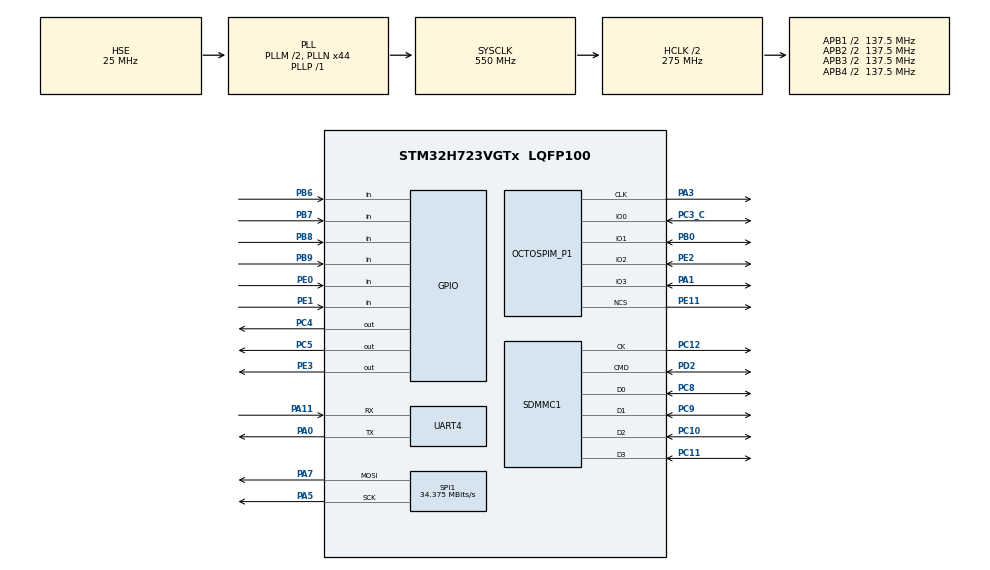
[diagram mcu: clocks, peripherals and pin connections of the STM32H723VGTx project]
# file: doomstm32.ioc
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CORTEX_M7.AccessPermission_Spec=MPU_REGION_FULL_ACCESS
CORTEX_M7.BaseAddress_Spec=0x90000000
CORTEX_M7.DisableExec_Spec=MPU_INSTRUCTION_ACCESS_ENABLE
CORTEX_M7.IsBufferable_Spec=MPU_ACCESS_NOT_BUFFERABLE
CORTEX_M7.IsCacheable_Spec=MPU_ACCESS_NOT_CACHEABLE
CORTEX_M7.IsShareable_Spec=MPU_ACCESS_NOT_SHAREABLE
CORTEX_M7.Size_Spec=MPU_REGION_SIZE_8MB
CORTEX_M7.SubRegionDisable_Spec=0x00
CORTEX_M7.TypeExtField_Spec=MPU_TEX_LEVEL1
CORTEX_M7.default_mode_Activation=1
Dma.Request0=SPI1_TX
Dma.SPI1_TX.0.Direction=DMA_MEMORY_TO_PERIPH
Dma.SPI1_TX.0.EventEnable=DISABLE
Dma.SPI1_TX.0.FIFOMode=DMA_FIFOMODE_DISABLE
Dma.SPI1_TX.0.Instance=DMA1_Stream0
Dma.SPI1_TX.0.MemDataAlignment=DMA_MDATAALIGN_HALFWORD
Dma.SPI1_TX.0.MemInc=DMA_MINC_ENABLE
Dma.SPI1_TX.0.Mode=DMA_NORMAL
Dma.SPI1_TX.0.PeriphDataAlignment=DMA_PDATAALIGN_HALFWORD
Dma.SPI1_TX.0.PeriphInc=DMA_PINC_DISABLE
Dma.SPI1_TX.0.Polarity=HAL_DMAMUX_REQ_GEN_RISING
Dma.SPI1_TX.0.Priority=DMA_PRIORITY_VERY_HIGH
Dma.SPI1_TX.0.RequestNumber=1
Dma.SPI1_TX.0.SignalID=NONE
Dma.SPI1_TX.0.SyncEnable=DISABLE
Dma.SPI1_TX.0.SyncPolarity=HAL_DMAMUX_SYNC_NO_EVENT
Dma.SPI1_TX.0.SyncRequestNumber=1
Dma.SPI1_TX.0.SyncSignalID=NONE
Mcu.Family=STM32H7
Mcu.Name=STM32H723VGTx
Mcu.Package=LQFP100
NVIC.DMA1_Stream0_IRQn=true\:0\:0\:false\:false\:true\:false\:true\:true
NVIC.PriorityGroup=NVIC_PRIORITYGROUP_4
NVIC.SPI1_IRQn=true\:0\:0\:false\:false\:true\:false\:true\:true
OCTOSPI1.ClockPrescaler=7
OCTOSPI1.DeviceSize=23
PA0.Mode=Asynchronous
PA0.Signal=UART4_TX
PA1.Mode=OCTOSPI1_IOL_Port1L
PA1.Signal=OCTOSPIM_P1_IO3
PA11.Mode=Asynchronous
PA11.Signal=UART4_RX
PA13(JTMS/SWDIO).Mode=Serial_Wire
PA13(JTMS/SWDIO).Signal=DEBUG_JTMS-SWDIO
PA14(JTCK/SWCLK).Mode=Serial_Wire
PA14(JTCK/SWCLK).Signal=DEBUG_JTCK-SWCLK
PA3.Mode=O1_P1_CLK
PA3.Signal=OCTOSPIM_P1_CLK
PA5.Mode=TX_Only_Simplex_Unidirect_Master
PA5.Signal=SPI1_SCK
PA7.Mode=TX_Only_Simplex_Unidirect_Master
PA7.Signal=SPI1_MOSI
PB0.Mode=OCTOSPI1_IOL_Port1L
PB0.Signal=OCTOSPIM_P1_IO1
PB6.GPIO_PuPd=GPIO_PULLUP
PB6.Signal=GPIO_Input
PB7.GPIO_PuPd=GPIO_PULLUP
PB7.Signal=GPIO_Input
PB8.GPIO_PuPd=GPIO_PULLUP
PB8.Signal=GPIO_Input
PB9.GPIO_PuPd=GPIO_PULLUP
PB9.Signal=GPIO_Input
PC10.Mode=SD_4_bits_Wide_bus
PC10.Signal=SDMMC1_D2
PC11.Mode=SD_4_bits_Wide_bus
PC11.Signal=SDMMC1_D3
PC12.Mode=SD_4_bits_Wide_bus
PC12.Signal=SDMMC1_CK
PC3_C.Mode=OCTOSPI1_IOL_Port1L
PC3_C.Signal=OCTOSPIM_P1_IO0
PC4.GPIO_Speed=GPIO_SPEED_FREQ_MEDIUM
PC4.Signal=GPIO_Output
PC5.GPIO_Speed=GPIO_SPEED_FREQ_MEDIUM
PC5.Signal=GPIO_Output
PC8.Mode=SD_4_bits_Wide_bus
PC8.Signal=SDMMC1_D0
PC9.Mode=SD_4_bits_Wide_bus
PC9.Signal=SDMMC1_D1
PD2.Mode=SD_4_bits_Wide_bus
PD2.Signal=SDMMC1_CMD
PE0.GPIO_PuPd=GPIO_PULLUP
PE0.Signal=GPIO_Input
PE1.GPIO_PuPd=GPIO_PULLUP
PE1.Signal=GPIO_Input
PE11.Mode=OCTOSPI1_Port1_NCS
PE11.Signal=OCTOSPIM_P1_NCS
PE2.Mode=OCTOSPI1_IOL_Port1L
PE2.Signal=OCTOSPIM_P1_IO2
PE3.GPIO_Speed=GPIO_SPEED_FREQ_LOW
PE3.Signal=GPIO_Output
PH0-OSC_IN.Mode=HSE-External-Oscillator
PH0-OSC_IN.Signal=RCC_OSC_IN
PH1-OSC_OUT.Mode=HSE-External-Oscillator
PH1-OSC_OUT.Signal=RCC_OSC_OUT
ProjectManager.HeapSize=0x200
ProjectManager.StackSize=0x400
ProjectManager.TargetToolchain=STM32CubeIDE
RCC.ADCFreq_Value=50390625
RCC.APB1Freq_Value=137500000
RCC.APB2Freq_Value=137500000
RCC.APB3Freq_Value=137500000
RCC.APB4Freq_Value=137500000
RCC.CortexFreq_Value=550000000
RCC.D1PPRE=RCC_APB3_DIV2
RCC.D2PPRE1=RCC_APB1_DIV2
RCC.D2PPRE2=RCC_APB2_DIV2
RCC.D3PPRE=RCC_APB4_DIV2
RCC.DIVM1=2
RCC.DIVN1=44
RCC.DIVP1=1
RCC.DIVQ1=4
RCC.HCLKFreq_Value=275000000
RCC.HPRE=RCC_HCLK_DIV2
RCC.PLL2FRACN=0
RCC.PLL3FRACN=0
RCC.PLLFRACN=0
RCC.PLLSourceVirtual=RCC_PLLSOURCE_HSE
RCC.SYSCLKFreq_VALUE=550000000
RCC.SYSCLKSource=RCC_SYSCLKSOURCE_PLLCLK
RCC.USBFreq_Value=137500000
SPI1.BaudRatePrescaler=SPI_BAUDRATEPRESCALER_4
SPI1.CLKPhase=SPI_PHASE_2EDGE
SPI1.CLKPolarity=SPI_POLARITY_HIGH
SPI1.CalculateBaudRate=34.375 MBits/s
SPI1.DataSize=SPI_DATASIZE_8BIT
SPI1.Direction=SPI_DIRECTION_2LINES_TXONLY
SPI1.Mode=SPI_MODE_MASTER
SPI1.VirtualType=VM_MASTER
VP_FATFS_VS_SDIO.Mode=SDIO
VP_MEMORYMAP_VS_MEMORYMAP.Mode=CurAppReg
VP_OCTOSPI1_VS_quad.Mode=quad_mode
board=custom

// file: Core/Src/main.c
/* USER CODE BEGIN Header */
/**
  ******************************************************************************
  * @file           : main.c
  * @brief          : Main program body
  ******************************************************************************
  * @attention
  *
  * Copyright (c) 2026 STMicroelectronics.
  * All rights reserved.
  *
  * This software is licensed under terms that can be found in the LICENSE file
  * in the root directory of this software component.
  * If no LICENSE file comes with this software, it is provided AS-IS.
  *
  ******************************************************************************
  */
/* USER CODE END Header */
#include "main.h"
#include "dma.h"
#include "fatfs.h"
#include "octospi.h"
#include "sdmmc.h"
#include "spi.h"
#include "usart.h"
#include "gpio.h"

/* USER CODE BEGIN Includes */
#include "stm32h7xx_ll_gpio.h"
#include "stm32h7xx_ll_spi.h"
#include "stm32h7xx_ll_dma.h"
#include "doomgeneric.h"
/* USER CODE END Includes */

/* USER CODE BEGIN PV */
#define frame ((uint16_t*)0x90640000)
FATFS fs;
FIL file;
UINT bytes_read;
//uint16_t color = 0x0000;

/* USER CODE END PV */

void SystemClock_Config(void);
static void MPU_Config(void);

/* USER CODE BEGIN 0 */
void SendCmd(uint8_t cmd){
	LL_GPIO_ResetOutputPin(GPIOC, LL_GPIO_PIN_5);
	while (!LL_SPI_IsActiveFlag_TXP(SPI1));
	LL_SPI_TransmitData8(SPI1, cmd);
	while (!LL_SPI_IsActiveFlag_TXC(SPI1));

}

void SendData(uint8_t data){
	LL_GPIO_SetOutputPin(GPIOC, LL_GPIO_PIN_5);
	while (!LL_SPI_IsActiveFlag_TXP(SPI1));
	LL_SPI_TransmitData8(SPI1, data);
	while (!LL_SPI_IsActiveFlag_TXC(SPI1));

}
void SetWindow(uint16_t x0, uint16_t y0, uint16_t x1, uint16_t y1){
	SendCmd(0x2A); //отправляем ширину экрана CASET
	SendData(x0>>8); SendData(x0 & 0xFF);
	SendData(x1>>8); SendData(x1 & 0xFF);

	SendCmd(0x2B); //отправляем длину экрана RASET
	SendData(y0>>8); SendData(y0 & 0xFF);
	SendData(y1>>8); SendData(y1 & 0xFF);
	SendCmd(0x2C);

}
void LCD_Init(void){
	LL_SPI_Enable(SPI1);
	LL_SPI_StartMasterTransfer(SPI1);

	LL_GPIO_ResetOutputPin(GPIOC, LL_GPIO_PIN_4);
	HAL_Delay(20);
	LL_GPIO_SetOutputPin(GPIOC, LL_GPIO_PIN_4); //RES
	HAL_Delay(50);

	SendCmd(0x11); //SLPOUT
	HAL_Delay(120);

	SendCmd(0x3A); //COLMOD
	SendData(0x55);

	SendCmd(0x21); // Display Inversion ON (ВКЛЮЧИТЬ ИНВЕРСИЮ IPS!)
	HAL_Delay(10);

	SendCmd(0x13); // Normal Display Mode ON
	HAL_Delay(10);

	SendCmd(0x29);
	HAL_Delay(50);

}

/*void ColorFill(uint16_t color){
	uint8_t highbyte = color >> 8;
	uint8_t lowbyte = color & 0xFF;
	SetWindow(0, 0, 239, 239);
	LL_GPIO_SetOutputPin(GPIOC, LL_GPIO_PIN_5);

	for (int i=0; i <240*240; i++){
		while(!LL_SPI_IsActiveFlag_TXP(SPI1));
		LL_SPI_TransmitData8(SPI1, highbyte);

		while(!LL_SPI_IsActiveFlag_TXP(SPI1));
		LL_SPI_TransmitData8(SPI1, lowbyte);
	}
	while(!LL_SPI_IsActiveFlag_TXC(SPI1));
}
*/

void DMA_Init(void){
	SetWindow(0, 0, 239, 239);

	LL_GPIO_SetOutputPin(GPIOC, LL_GPIO_PIN_5);

	LL_SPI_Disable(SPI1);

	LL_SPI_SetDataWidth(SPI1, LL_SPI_DATAWIDTH_16BIT);
	LL_SPI_SetTransferSize(SPI1, 0);
	LL_SPI_EnableDMAReq_TX(SPI1);

	LL_SPI_Enable(SPI1);
	LL_SPI_StartMasterTransfer(SPI1);

	LL_DMA_SetPeriphAddress(DMA1, LL_DMA_STREAM_0, (uint32_t)&(SPI1->TXDR));
	LL_DMA_SetMemoryAddress(DMA1, LL_DMA_STREAM_0, (uint32_t)frame);

}

void DrawFrame(void){

	//while (LL_DMA_IsEnabledStream(DMA1, LL_DMA_STREAM_0));
	SCB_CleanDCache_by_Addr((uint32_t*)frame, 240 * 240 * 2);

	/*LL_SPI_Disable(SPI1);

	LL_SPI_SetDataWidth(SPI1, LL_SPI_DATAWIDTH_8BIT);
	LL_SPI_SetTransferSize(SPI1, 0);
	LL_SPI_Enable(SPI1);
	LL_SPI_StartMasterTransfer(SPI1);
	SendCmd(0x2C);*/
	//LL_GPIO_SetOutputPin(GPIOC, LL_GPIO_PIN_5);

	/*LL_SPI_Disable(SPI1);
	LL_SPI_SetDataWidth(SPI1, LL_SPI_DATAWIDTH_16BIT);
	LL_SPI_SetTransferSize(SPI1, 240*240);
	LL_SPI_EnableDMAReq_TX(SPI1);
	LL_SPI_Enable(SPI1);*/

	LL_DMA_ClearFlag_TC0(DMA1);
	LL_DMA_SetDataLength(DMA1, LL_DMA_STREAM_0, 240*240);

	LL_DMA_EnableStream(DMA1, LL_DMA_STREAM_0);
	//LL_SPI_StartMasterTransfer(SPI1);
}

void psram_SendCmd(uint8_t cmd){
	while(OCTOSPI1->SR &OCTOSPI_SR_BUSY);
	OCTOSPI1->CCR = (1 << OCTOSPI_CCR_IMODE_Pos);
	OCTOSPI1->IR = cmd;
	while(!(OCTOSPI1->SR & OCTOSPI_SR_TCF));
	OCTOSPI1->FCR = OCTOSPI_FCR_CTCF;
}

void psram_init(void){
	LL_GPIO_SetPinSpeed(GPIOA, LL_GPIO_PIN_3, LL_GPIO_SPEED_FREQ_MEDIUM);
	OCTOSPI1->CR &= ~OCTOSPI_CR_EN;
	OCTOSPI1->CR |= OCTOSPI_CR_EN;
	psram_SendCmd(0x66); // Res Enable
	psram_SendCmd(0x99); // Res
	HAL_Delay(1);
	psram_SendCmd(0x35); // Quad mode enter
	 OCTOSPI1->CR &= ~OCTOSPI_CR_EN;
	 while(OCTOSPI1->SR & OCTOSPI_SR_BUSY);
	 OCTOSPI1->CR &= ~OCTOSPI_CR_EN;
	 OCTOSPI1->DCR2 &= ~0xFF;
	 OCTOSPI1->DCR2 |= 31;
	 OCTOSPI1->DCR1 &= ~OCTOSPI_DCR1_CSHT_Msk;
	    OCTOSPI1->DCR1 |= (3 << OCTOSPI_DCR1_CSHT_Pos);

	OCTOSPI1->TCR = (6 << OCTOSPI_TCR_DCYC_Pos)| OCTOSPI_TCR_SSHIFT;
	OCTOSPI1->CCR = (3<< OCTOSPI_CCR_DMODE_Pos) | (2 << OCTOSPI_CCR_ADSIZE_Pos) | (3<< OCTOSPI_CCR_ADMODE_Pos) | (3<< OCTOSPI_CCR_IMODE_Pos);
	OCTOSPI1->IR = 0xEB;
	OCTOSPI1->WTCR = 0;
	OCTOSPI1->WCCR = OCTOSPI_WCCR_DQSE | (3<< OCTOSPI_WCCR_DMODE_Pos) | (2 << OCTOSPI_WCCR_ADSIZE_Pos) | (3<< OCTOSPI_WCCR_ADMODE_Pos) | (3<< OCTOSPI_WCCR_IMODE_Pos);
	OCTOSPI1->WIR = 0x38;

	OCTOSPI1->CR &= ~OCTOSPI_CR_FMODE_Msk;
	OCTOSPI1->CR |= (3<<OCTOSPI_CR_FMODE_Pos);
	  OCTOSPI1->CR |= OCTOSPI_CR_EN;

}

/* USER CODE END 0 */

int main(void)
{

  /* MPU Configuration--------------------------------------------------------*/
  MPU_Config();

  /* MCU Configuration--------------------------------------------------------*/

  /* Reset of all peripherals, Initializes the Flash interface and the Systick. */
  HAL_Init();

  /* Configure the system clock */
  SystemClock_Config();

  /* Initialize all configured peripherals */
  MX_GPIO_Init();
  MX_DMA_Init();
  MX_SDMMC1_SD_Init();
  MX_SPI1_Init();
  MX_OCTOSPI1_Init();
  MX_UART4_Init();
  MX_FATFS_Init();
  /* USER CODE BEGIN 2 */
  SCB_EnableICache();
  SCB_EnableDCache();
  __HAL_RCC_SYSCFG_CLK_ENABLE();
   HAL_SYSCFG_AnalogSwitchConfig(SYSCFG_SWITCH_PC3, SYSCFG_SWITCH_PC3_CLOSE);

   LCD_Init();
   DMA_Init();
   psram_init();

  f_mount(&fs, "", 1);

  // === СТРЕСС-ТЕСТ PSRAM НА 64 КИЛОБАЙТА ===
   /* volatile uint32_t *ram = (volatile uint32_t *)0x90000000;
    const uint32_t test_words = 16384; // 16384 * 4 байта = 64 КБ!

    for (uint32_t i = 0; i < test_words; i++) {
        ram[i] = 0xAA000000U ^ (i * 0x01010101U);
    }

    // Сбрасываем и инвалидируем ВСЕ 64 КБ!
    SCB_CleanInvalidateDCache_by_Addr((uint32_t *)ram, test_words * sizeof(uint32_t));
    __DSB();

    int stress_error = -1;
    for (uint32_t i = 0; i < test_words; i++) {
        uint32_t expected = 0xAA000000U ^ (i * 0x01010101U);
        if (ram[i] != expected) {
            stress_error = i;
            break;
        }
    }

    if (stress_error == -1) {
        LL_GPIO_SetOutputPin(GPIOE, LL_GPIO_PIN_3); // ВСЕ 64 КБ ПРОШЛИ! СВЕТОДИОД ГОРИТ!
    } else {
        while(1) { // Сбой
            LL_GPIO_TogglePin(GPIOE, LL_GPIO_PIN_3);
            HAL_Delay(100);
        }
    }*/
  doomgeneric_Create(0, NULL);

  /* USER CODE END 2 */

  /* Infinite loop */
  /* USER CODE BEGIN WHILE */
  //uint16_t test_colors[] = {0xF800, 0x07E0, 0x001F, 0xFFE0, 0xF81F, 0x07FF};
   //int color_index = 0;
  while (1)
  {
	  doomgeneric_Tick();

	/*  if ( test_ram[0] == 0xDEADBEEF && test_ram[1] == 0xCAFEBABE)
	  {
		  LL_GPIO_SetOutputPin(GPIOE, LL_GPIO_PIN_3);
	  }
	  else {
		  while(1) {
		           LL_GPIO_TogglePin(GPIOE, LL_GPIO_PIN_3);
		           HAL_Delay(100);
		       }
	  }
*/
	//  while (LL_DMA_IsEnabledStream(DMA1, LL_DMA_STREAM_0));

	 /* LL_GPIO_SetOutputPin(GPIOE, LL_GPIO_PIN_3);
	  HAL_Delay(500);
	  LL_GPIO_ResetOutputPin(GPIOE, LL_GPIO_PIN_3);
	  HAL_Delay(500);*/
	 /* uint16_t c = test_colors[color_index];

	  for(uint16_t i=0; i<57600;i++){
	    	  	  frame[i] = c;
	    	    }
	  color_index = (color_index + 1) % 6;*/
	 // f_read(&file, frame, 240*240*2, &bytes_read);
	 // DrawFrame();

    /* USER CODE END WHILE */

  }
}

void SystemClock_Config(void)
{
  RCC_OscInitTypeDef RCC_OscInitStruct = {0};
  RCC_ClkInitTypeDef RCC_ClkInitStruct = {0};

  /** Supply configuration update enable
  */
  HAL_PWREx_ConfigSupply(PWR_LDO_SUPPLY);

  /** Configure the main internal regulator output voltage
  */
  __HAL_PWR_VOLTAGESCALING_CONFIG(PWR_REGULATOR_VOLTAGE_SCALE0);

  while(!__HAL_PWR_GET_FLAG(PWR_FLAG_VOSRDY)) {}

  /** Initializes the RCC Oscillators according to the specified parameters
  * in the RCC_OscInitTypeDef structure.
  */
  RCC_OscInitStruct.OscillatorType = RCC_OSCILLATORTYPE_HSE;
  RCC_OscInitStruct.HSEState = RCC_HSE_ON;
  RCC_OscInitStruct.PLL.PLLState = RCC_PLL_ON;
  RCC_OscInitStruct.PLL.PLLSource = RCC_PLLSOURCE_HSE;
  RCC_OscInitStruct.PLL.PLLM = 2;
  RCC_OscInitStruct.PLL.PLLN = 44;
  RCC_OscInitStruct.PLL.PLLP = 1;
  RCC_OscInitStruct.PLL.PLLQ = 4;
  RCC_OscInitStruct.PLL.PLLR = 2;
  RCC_OscInitStruct.PLL.PLLRGE = RCC_PLL1VCIRANGE_3;
  RCC_OscInitStruct.PLL.PLLVCOSEL = RCC_PLL1VCOWIDE;
  RCC_OscInitStruct.PLL.PLLFRACN = 0;
  if (HAL_RCC_OscConfig(&RCC_OscInitStruct) != HAL_OK)
  {
    Error_Handler();
  }

  /** Initializes the CPU, AHB and APB buses clocks
  */
  RCC_ClkInitStruct.ClockType = RCC_CLOCKTYPE_HCLK|RCC_CLOCKTYPE_SYSCLK
                              |RCC_CLOCKTYPE_PCLK1|RCC_CLOCKTYPE_PCLK2
                              |RCC_CLOCKTYPE_D3PCLK1|RCC_CLOCKTYPE_D1PCLK1;
  RCC_ClkInitStruct.SYSCLKSource = RCC_SYSCLKSOURCE_PLLCLK;
  RCC_ClkInitStruct.SYSCLKDivider = RCC_SYSCLK_DIV1;
  RCC_ClkInitStruct.AHBCLKDivider = RCC_HCLK_DIV2;
  RCC_ClkInitStruct.APB3CLKDivider = RCC_APB3_DIV2;
  RCC_ClkInitStruct.APB1CLKDivider = RCC_APB1_DIV2;
  RCC_ClkInitStruct.APB2CLKDivider = RCC_APB2_DIV2;
  RCC_ClkInitStruct.APB4CLKDivider = RCC_APB4_DIV2;

  if (HAL_RCC_ClockConfig(&RCC_ClkInitStruct, FLASH_LATENCY_3) != HAL_OK)
  {
    Error_Handler();
  }
}

 /* MPU Configuration */

void MPU_Config(void)
{
  MPU_Region_InitTypeDef MPU_InitStruct = {0};

  /* Disables the MPU */
  HAL_MPU_Disable();

  /** Initializes and configures the Region and the memory to be protected
  */
  MPU_InitStruct.Enable = MPU_REGION_ENABLE;
  MPU_InitStruct.Number = MPU_REGION_NUMBER0;
  MPU_InitStruct.BaseAddress = 0x90000000;
  MPU_InitStruct.Size = MPU_REGION_SIZE_8MB;
  MPU_InitStruct.SubRegionDisable = 0x00;
  MPU_InitStruct.TypeExtField = MPU_TEX_LEVEL1;
  MPU_InitStruct.AccessPermission = MPU_REGION_FULL_ACCESS;
  MPU_InitStruct.DisableExec = MPU_INSTRUCTION_ACCESS_ENABLE;
  MPU_InitStruct.IsShareable = MPU_ACCESS_NOT_SHAREABLE;
  MPU_InitStruct.IsCacheable = MPU_ACCESS_CACHEABLE;
  MPU_InitStruct.IsBufferable = MPU_ACCESS_BUFFERABLE;

  HAL_MPU_ConfigRegion(&MPU_InitStruct);
  /* Enables the MPU */
  HAL_MPU_Enable(MPU_PRIVILEGED_DEFAULT);

}

void Error_Handler(void)
{
  __disable_irq();
  while (1)
  {
  }
}
